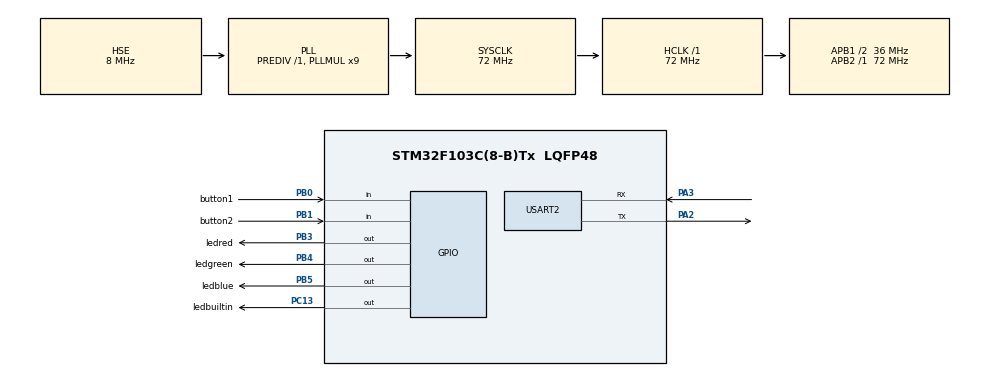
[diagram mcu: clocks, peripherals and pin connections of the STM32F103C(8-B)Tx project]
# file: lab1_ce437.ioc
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Mcu.Family=STM32F1
Mcu.Name=STM32F103C(8-B)Tx
Mcu.Package=LQFP48
NVIC.PriorityGroup=NVIC_PRIORITYGROUP_4
NVIC.TIM3_IRQn=true\:0\:0\:false\:false\:true\:true\:true\:true
PA13.Mode=Serial_Wire
PA13.Signal=SYS_JTMS-SWDIO
PA14.Mode=Serial_Wire
PA14.Signal=SYS_JTCK-SWCLK
PA2.Mode=Asynchronous
PA2.Signal=USART2_TX
PA3.Mode=Asynchronous
PA3.Signal=USART2_RX
PB0.GPIO_Label=button1
PB0.GPIO_PuPd=GPIO_PULLUP
PB0.Signal=GPIO_Input
PB1.GPIO_Label=button2
PB1.GPIO_PuPd=GPIO_PULLUP
PB1.Signal=GPIO_Input
PB3.GPIO_Label=ledred
PB3.Signal=GPIO_Output
PB4.GPIO_Label=ledgreen
PB4.Signal=GPIO_Output
PB5.GPIO_Label=ledblue
PB5.Signal=GPIO_Output
PC13-TAMPER-RTC.GPIO_Label=ledbuiltin
PC13-TAMPER-RTC.Signal=GPIO_Output
PD0-OSC_IN.Mode=HSE-External-Oscillator
PD0-OSC_IN.Signal=RCC_OSC_IN
PD1-OSC_OUT.Mode=HSE-External-Oscillator
PD1-OSC_OUT.Signal=RCC_OSC_OUT
ProjectManager.HeapSize=0x200
ProjectManager.StackSize=0x400
ProjectManager.TargetToolchain=Makefile
RCC.AHBFreq_Value=72000000
RCC.APB1CLKDivider=RCC_HCLK_DIV2
RCC.APB1Freq_Value=36000000
RCC.APB1TimFreq_Value=72000000
RCC.APB2Freq_Value=72000000
RCC.APB2TimFreq_Value=72000000
RCC.HCLKFreq_Value=72000000
RCC.PLLMUL=RCC_PLL_MUL9
RCC.PLLSourceVirtual=RCC_PLLSOURCE_HSE
RCC.SYSCLKFreq_VALUE=72000000
RCC.SYSCLKSource=RCC_SYSCLKSOURCE_PLLCLK
RCC.USBFreq_Value=72000000
TIM3.AutoReloadPreload=TIM_AUTORELOAD_PRELOAD_ENABLE
TIM3.Period=2000 - 1
TIM3.Prescaler=7200 - 1
USART2.VirtualMode=VM_ASYNC
VP_TIM3_VS_ClockSourceINT.Mode=Internal
board=custom

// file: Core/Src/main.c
/* USER CODE BEGIN Header */
/**
  ******************************************************************************
  * @file           : main.c
  * @brief          : Main program body
  ******************************************************************************
  * @attention
  *
  * Copyright (c) 2023 STMicroelectronics.
  * All rights reserved.
  *
  * This software is licensed under terms that can be found in the LICENSE file
  * in the root directory of this software component.
  * If no LICENSE file comes with this software, it is provided AS-IS.
  *
  ******************************************************************************
  */
/* USER CODE END Header */
#include "main.h"

/* USER CODE BEGIN Includes */
#include <stdio.h> // sprintf
#include <string.h> // strlen
/* USER CODE END Includes */

/* USER CODE BEGIN PTD */
typedef enum{
  RESET_BTN,
  WAIT,
  ARMING,
  ARMED,
  DRAWN,
  TRIGGER,
  HOLD,
  LOW_WAIT
}button_state_t;

typedef enum{
  mode1,
  mode2,
  mode3
}ledmode_t;

typedef enum{
  state1mode2,
  state2mode2,
  state3mode2
}ledmode2;

typedef enum{
  state1mode3,
  state2mode3,
  state3mode3,
  state4mode3
}ledmode3;
/* USER CODE END PTD */

/* USER CODE BEGIN PD */
#define DEBUG 1
/* USER CODE END PD */

TIM_HandleTypeDef htim3;

UART_HandleTypeDef huart2;

/* USER CODE BEGIN PV */
button_state_t state_button1_t = RESET_BTN;
button_state_t state_button2_t = RESET_BTN;
button_state_t pre_state_button1_t = RESET_BTN;
button_state_t pre_state_button2_t = RESET_BTN;
GPIO_PinState state_button1 = GPIO_PIN_SET;
GPIO_PinState state_button2 = GPIO_PIN_SET;
uint32_t t_s1 = 0;
uint32_t t_s2 = 0;
uint32_t t_0_s1 = 0;
uint32_t t_0_s2 = 0;
uint32_t t_diff_s1 = 0;
uint32_t t_diff_s2 = 0;
uint32_t t_press_s1 = 0;
uint32_t t_press_s2 = 0;
uint32_t bounce_delay_s = 50;
uint32_t hold_delay_s = 500;

uint8_t initialled1 = 1;

uint32_t tim3scaler = 7200 - 1;
uint32_t tim3period = 10000 - 1;

ledmode_t stateofled = mode1;
ledmode2 mode2forled = state1mode2;
ledmode3 mode3forled = state1mode3;

uint8_t ishold1 = 0;
uint8_t ishold2 = 0;

uint8_t message[35] = {'\0'};
/* USER CODE END PV */

void SystemClock_Config(void);
static void MX_GPIO_Init(void);
static void MX_TIM3_Init(void);
static void MX_USART2_UART_Init(void);

/* USER CODE BEGIN 0 */
void initLED(GPIO_PinState ledbuiltin, GPIO_PinState ledr, GPIO_PinState ledg, GPIO_PinState ledb){
  HAL_GPIO_WritePin(ledbuiltin_GPIO_Port, ledbuiltin_Pin, ledbuiltin);
  HAL_GPIO_WritePin(ledred_GPIO_Port, ledred_Pin, ledr);
  HAL_GPIO_WritePin(ledgreen_GPIO_Port, ledgreen_Pin, ledg);
  HAL_GPIO_WritePin(ledblue_GPIO_Port, ledblue_Pin, ledb);
}

void function_mode1(){
  if (initialled1 == 1){
    initLED(GPIO_PIN_RESET, GPIO_PIN_RESET, GPIO_PIN_RESET, GPIO_PIN_RESET);
    initialled1 = 0;
  }else{
    HAL_GPIO_TogglePin(ledbuiltin_GPIO_Port, ledbuiltin_Pin);
    HAL_GPIO_TogglePin(ledred_GPIO_Port, ledred_Pin);
    HAL_GPIO_TogglePin(ledgreen_GPIO_Port, ledgreen_Pin);
    HAL_GPIO_TogglePin(ledblue_GPIO_Port, ledblue_Pin);
  }

}

void function_mode2(){
  switch (mode2forled)
  {
  case state1mode2:
    initLED(GPIO_PIN_RESET, GPIO_PIN_SET, GPIO_PIN_RESET, GPIO_PIN_RESET);
    mode2forled = state2mode2;
    break;
  case state2mode2:
    initLED(GPIO_PIN_SET, GPIO_PIN_RESET, GPIO_PIN_SET, GPIO_PIN_RESET);
    mode2forled = state3mode2;
    break;
  case state3mode2:
    initLED(GPIO_PIN_RESET, GPIO_PIN_RESET, GPIO_PIN_RESET, GPIO_PIN_SET);
    mode2forled = state1mode2;
    break;
  default:
    break;
  }
}

void function_mode3(){
  switch (mode3forled)
  {
  case state1mode3:
    initLED(GPIO_PIN_SET, GPIO_PIN_RESET, GPIO_PIN_RESET, GPIO_PIN_RESET);
    mode3forled = state2mode3;
    break;
  case state2mode3:
    initLED(GPIO_PIN_RESET, GPIO_PIN_SET, GPIO_PIN_RESET, GPIO_PIN_RESET);
    mode3forled = state3mode3;
    break;
  case state3mode3:
    initLED(GPIO_PIN_RESET, GPIO_PIN_SET, GPIO_PIN_SET, GPIO_PIN_RESET);
    mode3forled = state4mode3;
    break;
  case state4mode3:
    initLED(GPIO_PIN_SET, GPIO_PIN_SET, GPIO_PIN_SET, GPIO_PIN_SET);
    mode3forled = state1mode3;
    break;
  default:
    break;
  }
}

void changemodeled() {
  switch (stateofled)
  {
    case mode1:
      initialled1 = 1;
      stateofled = mode2;
      break;
    case mode2:
      stateofled = mode3;
      break;
    case mode3:
      stateofled = mode1;
      break;
    default:
      break;
  }
}

void SM_ledmode(void){
  switch (stateofled)
    {
    case mode1:
      function_mode1();
      break;
    case mode2:
      function_mode2();
      break;
    case mode3:
      function_mode3();
      break;
    default:
      break;
    }
}

void HAL_TIM_PeriodElapsedCallback(TIM_HandleTypeDef *htim)
{
  /* Prevent unused argument(s) compilation warning */
  UNUSED(htim);

  /* NOTE : This function should not be modified, when the callback is needed,
            the HAL_TIM_PeriodElapsedCallback could be implemented in the user file
   */

  if(htim == &htim3){
    SM_ledmode();
  }
}

void SM_button1(void){
  state_button1 = HAL_GPIO_ReadPin(button1_GPIO_Port, button1_Pin);
  pre_state_button1_t = state_button1_t;
  switch(state_button1_t){
    case RESET_BTN:
      state_button1_t = WAIT;
      break;
    case WAIT:
      if (state_button1 == GPIO_PIN_RESET){
        state_button1_t = ARMING;
      }
      break;
    case ARMING:
      t_0_s1 = HAL_GetTick();
      state_button1_t = ARMED;
      break;
    case ARMED:
      t_s1 = HAL_GetTick();
      t_diff_s1 = t_s1 - t_0_s1;
      if (state_button1 == GPIO_PIN_SET){
        state_button1_t = RESET_BTN;
      }
      if(t_diff_s1 > bounce_delay_s){
        state_button1_t = DRAWN;
      }
      break;
    case DRAWN:
      t_s1 = HAL_GetTick();
      t_diff_s1 = t_s1 - t_0_s1;
      if (state_button1 == GPIO_PIN_SET){
        state_button1_t = TRIGGER;
      }
      if (t_diff_s1 > hold_delay_s){
        state_button1_t = HOLD;
      }
      break;
    case TRIGGER:
      state_button1_t = RESET_BTN;
      break;
    case HOLD:
      state_button1_t = LOW_WAIT;
      break;
    case LOW_WAIT:
      if (state_button1 == GPIO_PIN_SET){
        t_s1 = HAL_GetTick();
        t_press_s1 = t_s1 - t_0_s1;
        state_button1_t = RESET_BTN;
      }
      break;
    default:
    break;
  }
}

void SM_button2(void){
  state_button2 = HAL_GPIO_ReadPin(button2_GPIO_Port, button2_Pin);
  pre_state_button2_t = state_button2_t;
  switch(state_button2_t){
    case RESET_BTN:
      state_button2_t = WAIT;
      break;
    case WAIT:
      if (state_button2 == GPIO_PIN_RESET){
        state_button2_t = ARMING;
      }
      break;
    case ARMING:
      t_0_s2 = HAL_GetTick();
      state_button2_t = ARMED;
      break;
    case ARMED:
      t_s2 = HAL_GetTick();
      t_diff_s2 = t_s2 - t_0_s2;
      if (state_button2 == GPIO_PIN_SET){
        state_button2_t = RESET_BTN;
      }
      if(t_diff_s2 > bounce_delay_s){
        state_button2_t = DRAWN;
      }
      break;
    case DRAWN:
      t_s2 = HAL_GetTick();
      t_diff_s2 = t_s2 - t_0_s2;
      if (state_button2 == GPIO_PIN_SET){
        state_button2_t = TRIGGER;
      }
      if (t_diff_s2 > hold_delay_s){
        state_button2_t = HOLD;
      }
      break;
    case TRIGGER:
      state_button2_t = RESET_BTN;
      break;
    case HOLD:
      state_button2_t = LOW_WAIT;
      break;
    case LOW_WAIT:
      if (state_button2 == GPIO_PIN_SET){
        t_s2 = HAL_GetTick();
        t_press_s2 = t_s2 - t_0_s2;
        state_button2_t = RESET_BTN;
      }
      break;
    default:
    break;
  }
}

void print_uart(char *message){
  HAL_UART_Transmit(&huart2, (uint8_t*)message, strlen(message), 100);
}

void button1_pressed(void){
  if (HAL_TIM_Base_Stop_IT(&htim3) != HAL_OK)
  {
    Error_Handler();
  }
  if (HAL_TIM_Base_DeInit(&htim3) != HAL_OK)
  {
    Error_Handler();
  }
  if(tim3period == 999){
    tim3period = 20000 - 1;
  }else{
    tim3period -= 1000;
  }
  MX_TIM3_Init();
  if (HAL_TIM_Base_Start_IT(&htim3) != HAL_OK)
  {
    Error_Handler();
  }
  sprintf((char*)message, "Period of timer 3: %ld\r\n", tim3period);
  print_uart((char*)message);
  print_uart("BUTTON1_TRIGGERED!\r\n");
}

void button1_holdtime(void){
  if(ishold1 != 0){
    uint8_t divsion_time = t_press_s1 / 200;
    uint16_t decrease_time = divsion_time * 1000;
    if (HAL_TIM_Base_Stop_IT(&htim3) != HAL_OK)
    {
      Error_Handler();
    }
    if (HAL_TIM_Base_DeInit(&htim3) != HAL_OK)
    {
      Error_Handler();
    }
    if((int)tim3period - (int)decrease_time > 0){
      tim3period -= decrease_time;
    }else{
      tim3period = 20000 - 1;
    }
    MX_TIM3_Init();
    if (HAL_TIM_Base_Start_IT(&htim3) != HAL_OK)
    {
      Error_Handler();
    }
    sprintf((char*)message, "Period of timer 3: %ld\r\n", tim3period);
    print_uart((char*)message);
    sprintf((char*)message, "Time pressing button: %ld\r\n", t_press_s1);
    print_uart((char*)message);
  }
  ishold1 = 0;
}

void button2_pressed(void){
  changemodeled();
  print_uart("BUTTON2_TRIGGERED!\r\n");
}

void button2_holdtime(void){
  if(ishold2 != 0){
    uint8_t divsion_time = t_press_s2 / 200;
    uint16_t increase_time = divsion_time * 1000;
    if (HAL_TIM_Base_Stop_IT(&htim3) != HAL_OK)
    {
      Error_Handler();
    }
    if (HAL_TIM_Base_DeInit(&htim3) != HAL_OK)
    {
      Error_Handler();
    }
    if(tim3period + increase_time > 20000 - 1){
      tim3period = 20000 - 1;
    }else{
      tim3period += increase_time;
    }
    MX_TIM3_Init();
    if (HAL_TIM_Base_Start_IT(&htim3) != HAL_OK)
    {
      Error_Handler();
    }
    sprintf((char*)message, "Period of timer 3: %ld\r\n", tim3period);
    print_uart((char*)message);
    sprintf((char*)message, "Time pressing button: %ld\r\n", t_press_s2);
    print_uart((char*)message);
  }
  ishold2 = 0;
}

/* USER CODE END 0 */

int main(void)
{

  /* MCU Configuration--------------------------------------------------------*/

  /* Reset of all peripherals, Initializes the Flash interface and the Systick. */
  HAL_Init();

  /* Configure the system clock */
  SystemClock_Config();

  /* Initialize all configured peripherals */
  MX_GPIO_Init();
  MX_TIM3_Init();
  MX_USART2_UART_Init();
  /* USER CODE BEGIN 2 */
  if (HAL_TIM_Base_Start_IT(&htim3) != HAL_OK)
  {
    Error_Handler();
  }
  /* USER CODE END 2 */

  /* Infinite loop */
  while (1)
  {

    /* USER CODE BEGIN 3 */
    SM_button1();
    SM_button2();
    if (state_button1_t == TRIGGER){
      button1_pressed();
    }
    if (state_button1_t == HOLD){
      print_uart("BUTTON1_HOLD!\r\n");
      ishold1 = 1;
    }
    if (state_button1_t == RESET_BTN){
      button1_holdtime();
    }

    if (state_button2_t == TRIGGER){
      button2_pressed();
    }
    if (state_button2_t == HOLD){
      print_uart("BUTTON2_HOLD!\r\n");
      ishold2 = 1;
    }
    if (state_button2_t == RESET_BTN){
      button2_holdtime();
    }

    if (DEBUG){
      if(pre_state_button1_t != state_button1_t){
        sprintf((char*)message, "State Of Button1: %d\r\n", state_button1_t);
        print_uart((char*)message);
      }

      if(pre_state_button2_t != state_button2_t){
        sprintf((char*)message, "State Of Button2: %d\r\n", state_button2_t);
        print_uart((char*)message);
      }
    }

  }
  /* USER CODE END 3 */
}

void SystemClock_Config(void)
{
  RCC_OscInitTypeDef RCC_OscInitStruct = {0};
  RCC_ClkInitTypeDef RCC_ClkInitStruct = {0};

  /** Initializes the RCC Oscillators according to the specified parameters
  * in the RCC_OscInitTypeDef structure.
  */
  RCC_OscInitStruct.OscillatorType = RCC_OSCILLATORTYPE_HSE;
  RCC_OscInitStruct.HSEState = RCC_HSE_ON;
  RCC_OscInitStruct.HSEPredivValue = RCC_HSE_PREDIV_DIV1;
  RCC_OscInitStruct.HSIState = RCC_HSI_ON;
  RCC_OscInitStruct.PLL.PLLState = RCC_PLL_ON;
  RCC_OscInitStruct.PLL.PLLSource = RCC_PLLSOURCE_HSE;
  RCC_OscInitStruct.PLL.PLLMUL = RCC_PLL_MUL9;
  if (HAL_RCC_OscConfig(&RCC_OscInitStruct) != HAL_OK)
  {
    Error_Handler();
  }

  /** Initializes the CPU, AHB and APB buses clocks
  */
  RCC_ClkInitStruct.ClockType = RCC_CLOCKTYPE_HCLK|RCC_CLOCKTYPE_SYSCLK
                              |RCC_CLOCKTYPE_PCLK1|RCC_CLOCKTYPE_PCLK2;
  RCC_ClkInitStruct.SYSCLKSource = RCC_SYSCLKSOURCE_PLLCLK;
  RCC_ClkInitStruct.AHBCLKDivider = RCC_SYSCLK_DIV1;
  RCC_ClkInitStruct.APB1CLKDivider = RCC_HCLK_DIV2;
  RCC_ClkInitStruct.APB2CLKDivider = RCC_HCLK_DIV1;

  if (HAL_RCC_ClockConfig(&RCC_ClkInitStruct, FLASH_LATENCY_2) != HAL_OK)
  {
    Error_Handler();
  }
}

static void MX_TIM3_Init(void)
{

  TIM_ClockConfigTypeDef sClockSourceConfig = {0};
  TIM_MasterConfigTypeDef sMasterConfig = {0};

  /* USER CODE BEGIN TIM3_Init 1 */
  htim3.Init.Prescaler = tim3scaler;
  htim3.Init.Period = tim3period;
  /* USER CODE END TIM3_Init 1 */
  htim3.Instance = TIM3;
  htim3.Init.Prescaler = 7200 - 1;
  htim3.Init.CounterMode = TIM_COUNTERMODE_UP;
  htim3.Init.Period = 2000 - 1;
  htim3.Init.ClockDivision = TIM_CLOCKDIVISION_DIV1;
  htim3.Init.AutoReloadPreload = TIM_AUTORELOAD_PRELOAD_ENABLE;
  if (HAL_TIM_Base_Init(&htim3) != HAL_OK)
  {
    Error_Handler();
  }
  sClockSourceConfig.ClockSource = TIM_CLOCKSOURCE_INTERNAL;
  if (HAL_TIM_ConfigClockSource(&htim3, &sClockSourceConfig) != HAL_OK)
  {
    Error_Handler();
  }
  sMasterConfig.MasterOutputTrigger = TIM_TRGO_RESET;
  sMasterConfig.MasterSlaveMode = TIM_MASTERSLAVEMODE_DISABLE;
  if (HAL_TIMEx_MasterConfigSynchronization(&htim3, &sMasterConfig) != HAL_OK)
  {
    Error_Handler();
  }

}

static void MX_USART2_UART_Init(void)
{

  huart2.Instance = USART2;
  huart2.Init.BaudRate = 115200;
  huart2.Init.WordLength = UART_WORDLENGTH_8B;
  huart2.Init.StopBits = UART_STOPBITS_1;
  huart2.Init.Parity = UART_PARITY_NONE;
  huart2.Init.Mode = UART_MODE_TX_RX;
  huart2.Init.HwFlowCtl = UART_HWCONTROL_NONE;
  huart2.Init.OverSampling = UART_OVERSAMPLING_16;
  if (HAL_UART_Init(&huart2) != HAL_OK)
  {
    Error_Handler();
  }

}

static void MX_GPIO_Init(void)
{
  GPIO_InitTypeDef GPIO_InitStruct = {0};

  /* GPIO Ports Clock Enable */
  __HAL_RCC_GPIOC_CLK_ENABLE();
  __HAL_RCC_GPIOD_CLK_ENABLE();
  __HAL_RCC_GPIOA_CLK_ENABLE();
  __HAL_RCC_GPIOB_CLK_ENABLE();

  /*Configure GPIO pin Output Level */
  HAL_GPIO_WritePin(ledbuiltin_GPIO_Port, ledbuiltin_Pin, GPIO_PIN_RESET);

  /*Configure GPIO pin Output Level */
  HAL_GPIO_WritePin(GPIOB, ledred_Pin|ledgreen_Pin|ledblue_Pin, GPIO_PIN_RESET);

  /*Configure GPIO pin : ledbuiltin_Pin */
  GPIO_InitStruct.Pin = ledbuiltin_Pin;
  GPIO_InitStruct.Mode = GPIO_MODE_OUTPUT_PP;
  GPIO_InitStruct.Pull = GPIO_NOPULL;
  GPIO_InitStruct.Speed = GPIO_SPEED_FREQ_LOW;
  HAL_GPIO_Init(ledbuiltin_GPIO_Port, &GPIO_InitStruct);

  /*Configure GPIO pins : button1_Pin button2_Pin */
  GPIO_InitStruct.Pin = button1_Pin|button2_Pin;
  GPIO_InitStruct.Mode = GPIO_MODE_INPUT;
  GPIO_InitStruct.Pull = GPIO_PULLUP;
  HAL_GPIO_Init(GPIOB, &GPIO_InitStruct);

  /*Configure GPIO pins : ledred_Pin ledgreen_Pin ledblue_Pin */
  GPIO_InitStruct.Pin = ledred_Pin|ledgreen_Pin|ledblue_Pin;
  GPIO_InitStruct.Mode = GPIO_MODE_OUTPUT_PP;
  GPIO_InitStruct.Pull = GPIO_NOPULL;
  GPIO_InitStruct.Speed = GPIO_SPEED_FREQ_LOW;
  HAL_GPIO_Init(GPIOB, &GPIO_InitStruct);

}

void Error_Handler(void)
{
  /* USER CODE BEGIN Error_Handler_Debug */
  /* User can add his own implementation to report the HAL error return state */
  __disable_irq();
  while (1)
  {
    print_uart("ERROR!\r\n");
  }
  /* USER CODE END Error_Handler_Debug */
}
